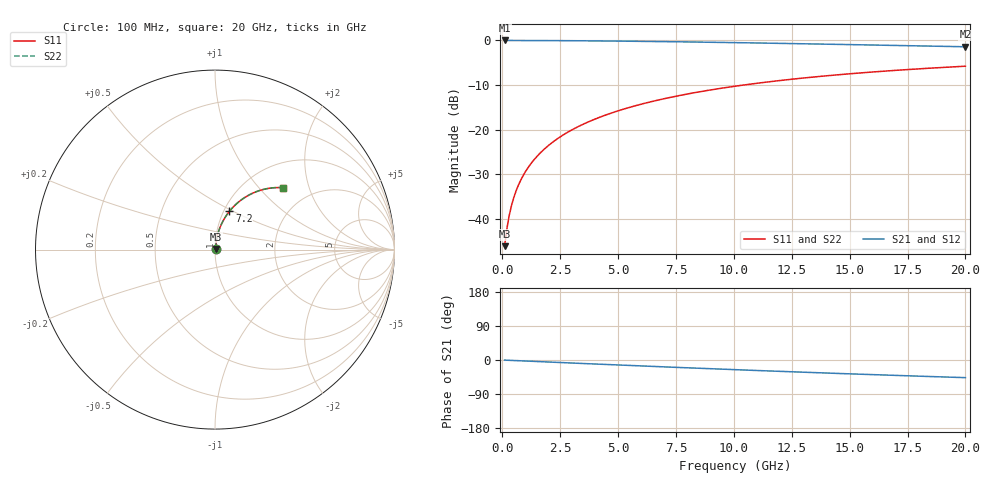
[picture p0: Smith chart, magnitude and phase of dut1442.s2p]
! Touchstone file exported from HFSS 2026.1.0
!  File:  C:/ffzhzh/LocalFiles/Ansys_Project_Files/temp_train_TMRDL_1442_1783167048_51560.aedt
!  Generated:  08:12:02 PM Jul  4, 2026
!  Design:  TMRDL
!  Project:  temp_train_TMRDL_1442_1783167048_51560
! Variables:
!  h_bsmrdl = 2um
!  h_ox = 20um
!  h_rdl = 5um
!  h_sub = 80um
!  h_tmrdl = 3.96um
!  h_tsv = 80um
!  h_via = 3um
!  l_bsmrdl = 300um
!  l_sub = 1013.26um
!  l_tmrdl = 613.26um
!  m_sub = 200um
!  pitch = 58.69um
!  r_tsv = 6um
!  s_tmrdl = 10um
!  w_bsmrdl = 18um
!  w_sub = 500um
!  w_tmrdl = 15.9um
!  x_tsv_center1 = 621.21um
!  x_tsv_center2 = 939.21um
!  x_tsv_center3 = 1568.37um
!  x_tsv_center4 = 1886.37um
!  x_tsv_center5 = 2515.53um
!  x_tsv_center6 = 2833.53um
# GHz S MA R 50.000000
! Terminal data exported
! Port[1] = TM_RDL1_1_T1
! Port[2] = TM_RDL1_1_T2
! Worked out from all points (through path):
!   200 points, 100 MHz to 20 GHz, reference 50 ohm
!   highest |S21| = -0.03 dB at 100 MHz (marker M1); lowest = -1.4 dB at 20 GHz (marker M2)
!   group delay of S21, straight-line fit = 6.48 ps
!   lowest |S11| = -46.1 dB at 100 MHz (marker M3), VSWR 1.01, Z = 50.4 + j0.35 ohm
!   |S11| at or under -10 dB: start of sweep to 10.43 GHz
!   |S22| runs from -46.1 to -5.8 dB; largest |S21 - S12| = 2.2e-15
!   S11 on the Smith chart (normalised r, x): 100 MHz: 1.01, +0.01; 7.2 GHz: 1.06, +0.48; 20 GHz: 1.46, +1.37
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0.1  0.004977 44.3  0.9964 -0.3  0.9964 -0.3  0.004977 44.3
! Gamma 0 0 0 0
! Port Impedance 50 0 50 0
0.2  0.007841 61.9  0.9963 -0.5  0.9963 -0.5  0.007841 61.9
0.3  0.01102 69.4  0.9962 -0.8  0.9962 -0.8  0.01102 69.4
0.4  0.01426 73.3  0.9961 -1.1  0.9961 -1.1  0.01426 73.3
0.5  0.01753 75.7  0.9959 -1.4  0.9959 -1.4  0.01753 75.7
0.6  0.0208 77.2  0.9958 -1.6  0.9958 -1.6  0.0208 77.2
0.8  0.02735 79.1  0.9955 -2.2  0.9955 -2.2  0.02735 79.1
1.1  0.03721 80.4  0.9951 -3.0  0.9951 -3.0  0.0372 80.4
1.5  0.05036 80.9  0.9943 -4.0  0.9943 -4.0  0.05036 80.9
1.8  0.06022 80.8  0.9937 -4.8  0.9937 -4.8  0.06022 80.8
2.1  0.07005 80.5  0.9929 -5.6  0.9929 -5.6  0.07005 80.5
2.7  0.08962 79.6  0.991 -7.2  0.991 -7.2  0.08962 79.6
3.5  0.1154 78.0  0.9879 -9.3  0.9879 -9.3  0.1154 78.0
4.2  0.1376 76.4  0.9846 -11.1  0.9846 -11.1  0.1376 76.4
5  0.1626 74.6  0.9803 -13.2  0.9803 -13.2  0.1626 74.6
6.8  0.2167 70.3  0.9686 -17.7  0.9686 -17.7  0.2167 70.3
7.2  0.2283 69.3  0.9658 -18.7  0.9658 -18.7  0.2283 69.4
8.6  0.2678 66.1  0.9549 -22.1  0.9549 -22.1  0.2678 66.1
10.1  0.3078 62.6  0.9421 -25.6  0.9421 -25.6  0.3078 62.6
13.4  0.3877 55.3  0.9114 -33.1  0.9114 -33.1  0.3877 55.4
16.7  0.456 48.5  0.879 -40.1  0.879 -40.1  0.456 48.6
20  0.5132 42.2  0.847 -46.6  0.847 -46.6  0.5132 42.2
